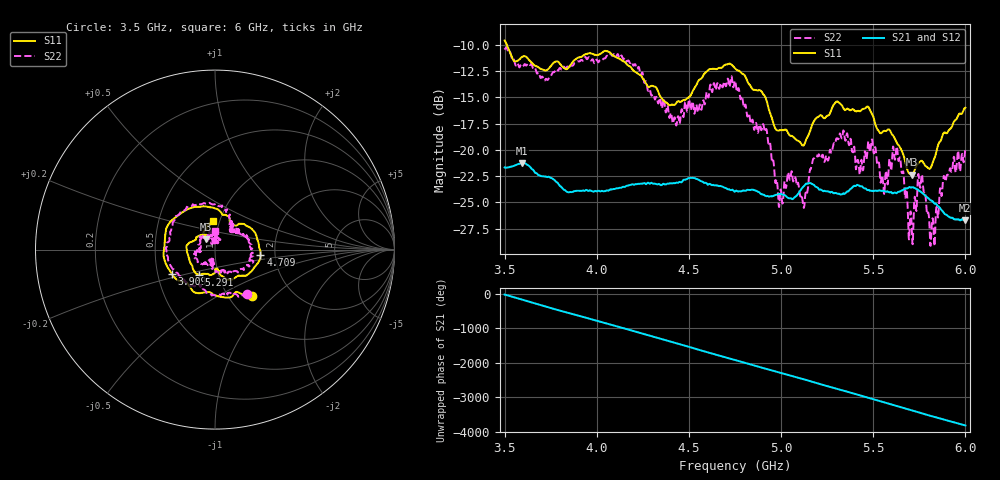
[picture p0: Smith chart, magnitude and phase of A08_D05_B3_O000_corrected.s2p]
! Created with skrf 1.9.0 (http://scikit-rf.org).
# Hz S RI R 50.0
!freq ReS11 ImS11 ReS21 ImS21 ReS12 ImS12 ReS22 ImS22
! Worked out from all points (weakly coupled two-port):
!   1601 points, 3.5 GHz to 6 GHz, reference 50 ohm
!   highest |S21| = -21.24 dB at 3.592 GHz (marker M1); lowest = -26.7 dB at 5.995 GHz (marker M2)
!   lowest |S11| = -22.4 dB at 5.709 GHz (marker M3), VSWR 1.16, Z = 45 + j5.27 ohm
!   |S11| at or under -10 dB: 3.512 GHz to end of sweep
!   |S22| runs from -29.2 to -10.2 dB; largest |S21 - S12| = 0.00095
!   S11 on the Smith chart (normalised r, x): 3.5 GHz: 1.27, -0.75; 3.909 GHz: 0.59, -0.17; 4.709 GHz: 1.67, -0.11; 5.291 GHz: 0.80, -0.23; 6 GHz: 0.94, +0.30
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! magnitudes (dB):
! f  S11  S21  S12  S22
! 3.5 GHz  -9.6  -21.7  -21.7  -10.3
! 3.592 GHz  -11.2  -21.2  -21.2  -11.9
! 3.909 GHz  -11.2  -23.9  -23.9  -11.5
! 3.917 GHz  -11.1  -23.9  -23.9  -11.4
! 4.142 GHz  -11.6  -23.5  -23.5  -11.3
! 4.334 GHz  -14.5  -23.3  -23.2  -15.6
! 4.441 GHz  -15.4  -23.1  -23.1  -16.8
! 4.709 GHz  -11.9  -23.7  -23.7  -13.3
! 4.75 GHz  -12.2  -24.0  -23.9  -13.4
! 4.912 GHz  -14.9  -24.4  -24.3  -18.3
! 4.997 GHz  -18.1  -24.2  -24.2  -23.8
! 5.048 GHz  -18.6  -24.6  -24.6  -22.7
! 5.128 GHz  -19.4  -23.4  -23.4  -25.0
! 5.167 GHz  -17.7  -23.3  -23.2  -21.4
! 5.291 GHz  -15.6  -24.1  -24.1  -19.4
! 5.584 GHz  -18.0  -24.0  -24.0  -21.6
! 5.636 GHz  -19.5  -24.0  -24.0  -21.0
! 5.709 GHz  -22.4  -23.6  -23.5  -27.7
! 5.755 GHz  -21.1  -24.0  -23.9  -23.6
! 5.822 GHz  -21.3  -24.9  -24.9  -26.5
! 5.995 GHz  -16.0  -26.7  -26.6  -20.6
! 6 GHz  -16.0  -26.7  -26.7  -19.9
